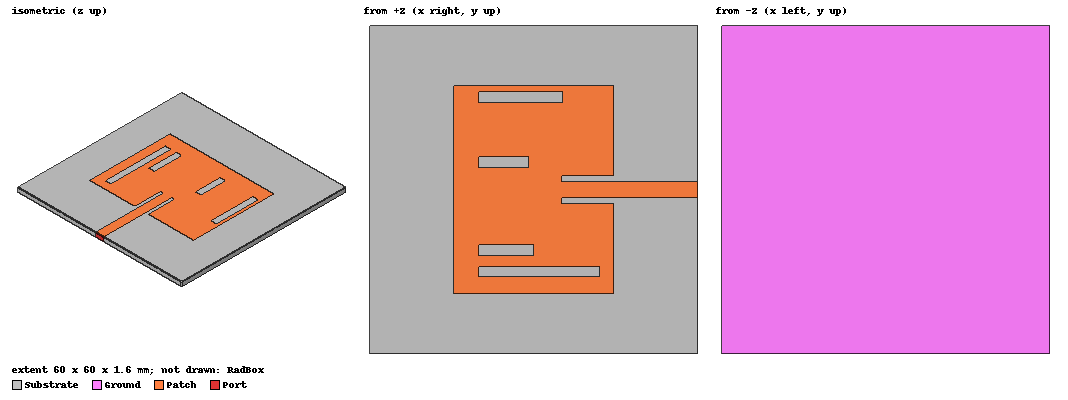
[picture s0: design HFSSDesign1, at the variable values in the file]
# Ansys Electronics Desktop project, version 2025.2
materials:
  vacuum: permittivity=1
  FR4_epoxy: permittivity=4.4 dielectric_loss_tangent=0.02
  air: permittivity=1.0006 permeability=1.0000004

design HFSSDesign1 (HFSS, HFSS Terminal Network, model units mm)
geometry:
  Ground = rectangle(corner=(-30mm, -30mm, 0mm), x_size=60mm, y_size=60mm)
  Substrate [FR4_epoxy] = box(corner=(-30mm, 30mm, 0mm), size=(60mm, -60mm, 1.6mm))
  Patch = rectangle(corner=((-29.4/2) mm, -19mm, 1.6mm), x_size=29.4mm, y_size=38mm)
  Feed = rectangle(corner=(0mm, -1.5mm, 1.6mm), x_size=30mm, y_size=3mm)
  Cut = rectangle(corner=(14.7mm, -2.5mm, 1.6mm), x_size=-9.5mm, y_size=5mm)
  Patch.subtract(Cut)
  Patch.unite(Feed)
  Port = rectangle(corner=(30mm, -1.5mm, 1.6mm), y_size=3mm, z_size=-1.6mm)
  RadBox [air] = box(corner=(-40mm, -40mm, -20mm), size=(80mm, 80mm, 40mm))
  Slot1 = rectangle(corner=(-10mm, -16mm, 1.6mm), x_size=22mm, y_size=2mm)
  Slot2 = rectangle(corner=(-10mm, 16mm, 1.6mm), x_size=15.3mm, y_size=2mm)
  Patch.subtract(Slot1, Slot2)
  Slot3 = rectangle(corner=(-10mm, -12mm, 1.6mm), x_size=10mm, y_size=2mm)
  Slot4 = rectangle(corner=(-10mm, 4mm, 1.6mm), x_size=9mm, y_size=2mm)
  Patch.subtract(Slot3, Slot4)
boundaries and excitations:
  PerfE1: Perfect E Objects=[Patch, Ground]
  Rad1: Radiation Objects=RadBox
  1: Lumped Port Objects=Port LumpedPortType=Modal Modes{Mode1{IntLine{(30, 0, 0) -> (30, 0, 1.6)} CharImp=Zpi}} Impedance=50ohm
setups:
  Setup1: HfssDriven Frequency=2.4GHz MaxDeltaS=0.02 MaximumPasses=20 MinimumPasses=1 MinimumConvergedPasses=1 PercentRefinement=30 BasisOrder=1 PortAccuracy=2 DrivenSolverType="Direct Solver"
    sweep Sweep: 1GHz to 3GHz step 0.02GHz; Type=Fast SaveFields
  Setup2: HfssDrivenAuto AutoSolverSetting=Balanced Type=Discrete
    sweep Sweep: 0.1GHz to 7GHz step 0.02GHz;
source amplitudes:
  1:1: 1V 0deg
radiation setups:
  Infinite Sphere1: Infinite Sphere Theta=0deg..180deg step 10deg Phi=0deg..360deg step 10deg
  Infinite Sphere2: Infinite Sphere Theta=0deg..360deg step 10deg Phi=0deg..360deg step 10deg
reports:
  S Parameter Plot1: dB(S(1,1)) vs Freq on Setup2 : Sweep; markers m1 at 2.34GHz, m2 at 2.88GHz, m3 at 4.36GHz, m4 at 6.82GHz, m5 at 7.68GHz, m6 at 2.56GHz
  rE Plot1: rETotal vs Phi, Theta on Setup1 : LastAdaptive, Infinite Sphere1 [Freq=2.4GHz]
  S Parameter Plot2: dB(S(1,1)) vs Freq on Setup2 : Sweep
  S Parameter Plot4: dB(S(1,1)) vs Freq on Setup1 : Sweep
  S Parameter Plot5: dB(S(1,1)) vs Freq on Setup1 : Sweep
  S Parameter Plot6: dB(S(1,1)) vs Freq on Setup2 : Sweep
